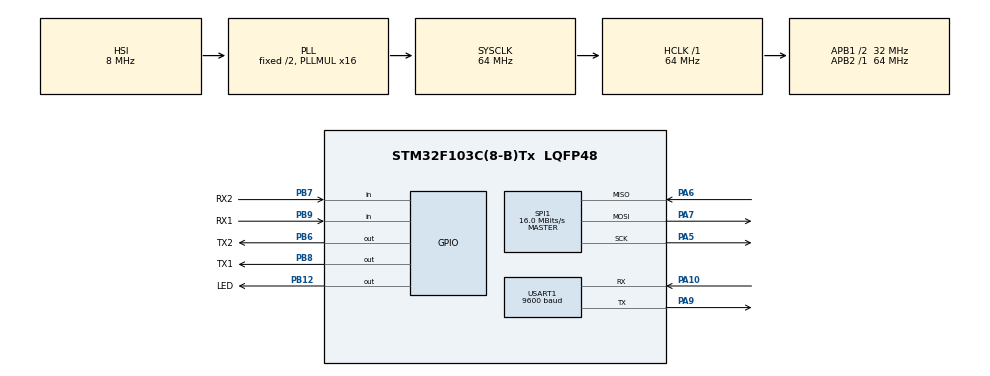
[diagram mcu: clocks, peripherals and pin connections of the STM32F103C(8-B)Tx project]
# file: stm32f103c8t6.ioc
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Mcu.Family=STM32F1
Mcu.Name=STM32F103C(8-B)Tx
Mcu.Package=LQFP48
NVIC.PriorityGroup=NVIC_PRIORITYGROUP_4
NVIC.TIM1_UP_IRQn=true\:0\:0\:false\:false\:true\:true\:true
NVIC.USART1_IRQn=true\:0\:0\:false\:false\:true\:true\:true
PA10.Mode=Asynchronous
PA10.Signal=USART1_RX
PA13.Mode=Serial_Wire
PA13.Signal=SYS_JTMS-SWDIO
PA14.Mode=Serial_Wire
PA14.Signal=SYS_JTCK-SWCLK
PA5.Mode=Full_Duplex_Master
PA5.Signal=SPI1_SCK
PA6.Mode=Full_Duplex_Master
PA6.Signal=SPI1_MISO
PA7.Mode=Full_Duplex_Master
PA7.Signal=SPI1_MOSI
PA9.Mode=Asynchronous
PA9.Signal=USART1_TX
PB12.GPIO_Label=LED
PB12.Signal=GPIO_Output
PB6.GPIO_Label=TX2
PB6.Signal=GPIO_Output
PB7.GPIO_Label=RX2
PB7.Signal=GPIO_Input
PB8.GPIO_Label=TX1
PB8.Signal=GPIO_Output
PB9.GPIO_Label=RX1
PB9.Signal=GPIO_Input
ProjectManager.HeapSize=0x200
ProjectManager.StackSize=0x400
ProjectManager.TargetToolchain=STM32CubeIDE
RCC.AHBFreq_Value=64000000
RCC.APB1CLKDivider=RCC_HCLK_DIV2
RCC.APB1Freq_Value=32000000
RCC.APB1TimFreq_Value=64000000
RCC.APB2Freq_Value=64000000
RCC.APB2TimFreq_Value=64000000
RCC.HCLKFreq_Value=64000000
RCC.PLLMUL=RCC_PLL_MUL16
RCC.SYSCLKFreq_VALUE=64000000
RCC.SYSCLKSource=RCC_SYSCLKSOURCE_PLLCLK
RCC.USBFreq_Value=64000000
SPI1.BaudRatePrescaler=SPI_BAUDRATEPRESCALER_4
SPI1.CalculateBaudRate=16.0 MBits/s
SPI1.Direction=SPI_DIRECTION_2LINES
SPI1.Mode=SPI_MODE_MASTER
SPI1.VirtualType=VM_MASTER
TIM1.Period=333
TIM1.Prescaler=1
USART1.BaudRate=9600
USART1.VirtualMode=VM_ASYNC
VP_TIM1_VS_ClockSourceINT.Mode=Internal
board=custom

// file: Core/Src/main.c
/* USER CODE BEGIN Header */
/**
  ******************************************************************************
  * @file           : main.c
  * @brief          : Main program body
  ******************************************************************************
  * @attention
  *
  * <h2><center>&copy; Copyright (c) 2020 STMicroelectronics.
  * All rights reserved.</center></h2>
  *
  * This software component is licensed by ST under BSD 3-Clause license,
  * the "License"; You may not use this file except in compliance with the
  * License. You may obtain a copy of the License at:
  *                        opensource.org/licenses/BSD-3-Clause
  *
  ******************************************************************************
  */
/* USER CODE END Header */

#include "main.h"

/* USER CODE BEGIN Includes */
#include <stdio.h>
/* USER CODE END Includes */

SPI_HandleTypeDef hspi1;

TIM_HandleTypeDef htim1;

UART_HandleTypeDef huart1;

void SystemClock_Config(void);
static void MX_GPIO_Init(void);
static void MX_SPI1_Init(void);
static void MX_TIM1_Init(void);
static void MX_USART1_UART_Init(void);

/* USER CODE BEGIN 0 */

int __io_putchar(int ch) {
	HAL_UART_Transmit(&huart1, (uint8_t*)&ch, 1, HAL_MAX_DELAY);
	// Serial_write(&hserial1, (uint8_t)ch);
	return ch;
}

char ser_buf[1005];

/* USER CODE END 0 */

int main(void)
{

  /* MCU Configuration--------------------------------------------------------*/

  /* Reset of all peripherals, Initializes the Flash interface and the Systick. */
  HAL_Init();

  /* Configure the system clock */
  SystemClock_Config();

  /* Initialize all configured peripherals */
  MX_GPIO_Init();
  MX_SPI1_Init();
  MX_TIM1_Init();
  MX_USART1_UART_Init();
  /* USER CODE BEGIN 2 */
  HAL_TIM_Base_Start_IT(&htim1);
  Serial_Init(&hserial1, RX1_GPIO_Port, RX1_Pin, TX1_GPIO_Port, TX1_Pin);
  printf("Setup!\n");

  Serial_writestr(&hserial1, "Software Serial begin\r\n");
  /* USER CODE END 2 */

  /* Infinite loop */
  while (1)
  {

    /* USER CODE BEGIN 3 */
	  HAL_GPIO_TogglePin(LED_GPIO_Port, LED_Pin);
	  if (Serial_available(&hserial1)) {
		  printf("SoftwareSerial RX Buffer Size: %d\n", Q_size(&hserial1.RX_buf));
		  int len = Serial_readall(&hserial1, (uint8_t*)ser_buf);
		  printf("Software Serial Received: ");
		  for (int i = 0; i < len; i++) {
			  printf("%02x ", (uint8_t)ser_buf[i]);
		  }
		  printf("\n");
	  }

	  Serial_writestr(&hserial1, "Software Serial Hi!!! \r\n");

	  HAL_Delay(1000);
  }
  /* USER CODE END 3 */
}

void SystemClock_Config(void)
{
  RCC_OscInitTypeDef RCC_OscInitStruct = {0};
  RCC_ClkInitTypeDef RCC_ClkInitStruct = {0};

  /** Initializes the CPU, AHB and APB busses clocks
  */
  RCC_OscInitStruct.OscillatorType = RCC_OSCILLATORTYPE_HSI;
  RCC_OscInitStruct.HSIState = RCC_HSI_ON;
  RCC_OscInitStruct.HSICalibrationValue = RCC_HSICALIBRATION_DEFAULT;
  RCC_OscInitStruct.PLL.PLLState = RCC_PLL_ON;
  RCC_OscInitStruct.PLL.PLLSource = RCC_PLLSOURCE_HSI_DIV2;
  RCC_OscInitStruct.PLL.PLLMUL = RCC_PLL_MUL16;
  if (HAL_RCC_OscConfig(&RCC_OscInitStruct) != HAL_OK)
  {
    Error_Handler();
  }
  /** Initializes the CPU, AHB and APB busses clocks
  */
  RCC_ClkInitStruct.ClockType = RCC_CLOCKTYPE_HCLK|RCC_CLOCKTYPE_SYSCLK
                              |RCC_CLOCKTYPE_PCLK1|RCC_CLOCKTYPE_PCLK2;
  RCC_ClkInitStruct.SYSCLKSource = RCC_SYSCLKSOURCE_PLLCLK;
  RCC_ClkInitStruct.AHBCLKDivider = RCC_SYSCLK_DIV1;
  RCC_ClkInitStruct.APB1CLKDivider = RCC_HCLK_DIV2;
  RCC_ClkInitStruct.APB2CLKDivider = RCC_HCLK_DIV1;

  if (HAL_RCC_ClockConfig(&RCC_ClkInitStruct, FLASH_LATENCY_2) != HAL_OK)
  {
    Error_Handler();
  }
}

static void MX_SPI1_Init(void)
{

  /* SPI1 parameter configuration*/
  hspi1.Instance = SPI1;
  hspi1.Init.Mode = SPI_MODE_MASTER;
  hspi1.Init.Direction = SPI_DIRECTION_2LINES;
  hspi1.Init.DataSize = SPI_DATASIZE_8BIT;
  hspi1.Init.CLKPolarity = SPI_POLARITY_LOW;
  hspi1.Init.CLKPhase = SPI_PHASE_1EDGE;
  hspi1.Init.NSS = SPI_NSS_SOFT;
  hspi1.Init.BaudRatePrescaler = SPI_BAUDRATEPRESCALER_4;
  hspi1.Init.FirstBit = SPI_FIRSTBIT_MSB;
  hspi1.Init.TIMode = SPI_TIMODE_DISABLE;
  hspi1.Init.CRCCalculation = SPI_CRCCALCULATION_DISABLE;
  hspi1.Init.CRCPolynomial = 10;
  if (HAL_SPI_Init(&hspi1) != HAL_OK)
  {
    Error_Handler();
  }

}

static void MX_TIM1_Init(void)
{

  TIM_ClockConfigTypeDef sClockSourceConfig = {0};
  TIM_MasterConfigTypeDef sMasterConfig = {0};

  htim1.Instance = TIM1;
  htim1.Init.Prescaler = 1;
  htim1.Init.CounterMode = TIM_COUNTERMODE_UP;
  htim1.Init.Period = 333;
  htim1.Init.ClockDivision = TIM_CLOCKDIVISION_DIV1;
  htim1.Init.RepetitionCounter = 0;
  htim1.Init.AutoReloadPreload = TIM_AUTORELOAD_PRELOAD_DISABLE;
  if (HAL_TIM_Base_Init(&htim1) != HAL_OK)
  {
    Error_Handler();
  }
  sClockSourceConfig.ClockSource = TIM_CLOCKSOURCE_INTERNAL;
  if (HAL_TIM_ConfigClockSource(&htim1, &sClockSourceConfig) != HAL_OK)
  {
    Error_Handler();
  }
  sMasterConfig.MasterOutputTrigger = TIM_TRGO_RESET;
  sMasterConfig.MasterSlaveMode = TIM_MASTERSLAVEMODE_DISABLE;
  if (HAL_TIMEx_MasterConfigSynchronization(&htim1, &sMasterConfig) != HAL_OK)
  {
    Error_Handler();
  }

}

static void MX_USART1_UART_Init(void)
{

  huart1.Instance = USART1;
  huart1.Init.BaudRate = 9600;
  huart1.Init.WordLength = UART_WORDLENGTH_8B;
  huart1.Init.StopBits = UART_STOPBITS_1;
  huart1.Init.Parity = UART_PARITY_NONE;
  huart1.Init.Mode = UART_MODE_TX_RX;
  huart1.Init.HwFlowCtl = UART_HWCONTROL_NONE;
  huart1.Init.OverSampling = UART_OVERSAMPLING_16;
  if (HAL_UART_Init(&huart1) != HAL_OK)
  {
    Error_Handler();
  }

}

static void MX_GPIO_Init(void)
{
  GPIO_InitTypeDef GPIO_InitStruct = {0};

  /* GPIO Ports Clock Enable */
  __HAL_RCC_GPIOA_CLK_ENABLE();
  __HAL_RCC_GPIOB_CLK_ENABLE();

  /*Configure GPIO pin Output Level */
  HAL_GPIO_WritePin(GPIOB, LED_Pin|TX2_Pin|TX1_Pin, GPIO_PIN_RESET);

  /*Configure GPIO pins : LED_Pin TX2_Pin TX1_Pin */
  GPIO_InitStruct.Pin = LED_Pin|TX2_Pin|TX1_Pin;
  GPIO_InitStruct.Mode = GPIO_MODE_OUTPUT_PP;
  GPIO_InitStruct.Pull = GPIO_NOPULL;
  GPIO_InitStruct.Speed = GPIO_SPEED_FREQ_LOW;
  HAL_GPIO_Init(GPIOB, &GPIO_InitStruct);

  /*Configure GPIO pins : RX2_Pin RX1_Pin */
  GPIO_InitStruct.Pin = RX2_Pin|RX1_Pin;
  GPIO_InitStruct.Mode = GPIO_MODE_INPUT;
  GPIO_InitStruct.Pull = GPIO_NOPULL;
  HAL_GPIO_Init(GPIOB, &GPIO_InitStruct);

}

void Error_Handler(void)
{
}

/************************ (C) COPYRIGHT STMicroelectronics *****END OF FILE****/
